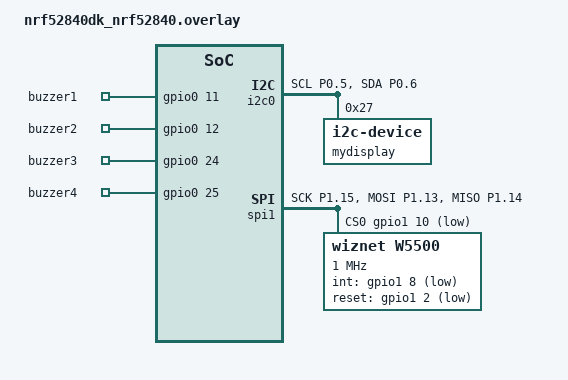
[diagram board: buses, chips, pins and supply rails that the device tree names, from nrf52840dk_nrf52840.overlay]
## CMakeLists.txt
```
# SPDX-License-Identifier: Apache-2.0

cmake_minimum_required(VERSION 3.20.0)
find_package(Zephyr REQUIRED HINTS $ENV{ZEPHYR_BASE})
project(NRF-Code)

target_sources(app PRIVATE
  src/main.c
  # src/common/common.c
  src/Lcd_Display/DisplayManager.c
  src/Buzzer/Buzzer_Manager.c
  src/BluetoothManager/BluetoothManager.c
  src/Network_Manager/Network_Manager.c
  src/Network_Manager/Network_Manager.c
  src/MbedTlsManager/MbedTlsManager.c
  src/NonBlockdelay/NonBlockdelay.c
  src/waterlevel/waterlevel.c
  src/JsonParser/JsonParser.c
  src/Pressuresensor/Pressuresensor.c


)
target_include_directories(app PRIVATE
  ${CMAKE_CURRENT_SOURCE_DIR}/src/Lcd_Display
  ${CMAKE_CURRENT_SOURCE_DIR}/src/Buzzer
  ${CMAKE_CURRENT_SOURCE_DIR}/src/common
  ${CMAKE_CURRENT_SOURCE_DIR}/src/Network_Manager
  ${CMAKE_CURRENT_SOURCE_DIR}/src/BluetoothManager
  ${CMAKE_CURRENT_SOURCE_DIR}/src/MbedTlsManager
  ${CMAKE_CURRENT_SOURCE_DIR}/src/NonBlockdelay
  ${CMAKE_CURRENT_SOURCE_DIR}/src/waterlevel
  ${CMAKE_CURRENT_SOURCE_DIR}/src/JsonParser
  ${CMAKE_CURRENT_SOURCE_DIR}/src/Pressuresensor

  # ${CMAKE_CURRENT_SOURCE_DIR}/src/BluetoothManager

)
# Adding Extra Library
zephyr_library_include_directories(${ZEPHYR_BASE}/samples/bluetooth)
# zephyr_include_directories(drivers/ethernet)
# zephyr_library_include_directories(${ZEPHYR_BASE}/drivers/ethernet)
```

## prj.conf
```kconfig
CONFIG_BT=y
CONFIG_BT_CENTRAL=y
CONFIG_I2C=y
CONFIG_LOG=y
CONFIG_BT_DEVICE_NAME="Central_Detector"


# Core 
# --- Core Networking ---
CONFIG_NETWORKING=y
CONFIG_NET_IPV4=y
CONFIG_NET_TCP=y
CONFIG_NET_L2_ETHERNET=y
CONFIG_NET_LOG=y

# --- Socket / POSIX API ---
CONFIG_NET_SOCKETS=y
CONFIG_POSIX_API=y             # Enables POSIX names like socket(), connect(), send()
CONFIG_NET_NATIVE=y            # Use Zephyr’s built-in TCP/IP stack

# --- W5500 Ethernet driver ---
CONFIG_SPI=y
CONFIG_ETH_W5500=y
CONFIG_NET_CONFIG_SETTINGS=y
CONFIG_NET_CONFIG_AUTO_INIT=y  # <-- ensures Zephyr brings the interface up automatically
CONFIG_I2C=y
# --- Static IPv4 configuration ---
CONFIG_NET_CONFIG_MY_IPV4_ADDR="192.168.1.170"
CONFIG_NET_CONFIG_MY_IPV4_NETMASK="255.255.255.0"
CONFIG_NET_CONFIG_PEER_IPV4_ADDR="192.168.1.200"
CONFIG_NET_CONFIG_INIT_TIMEOUT=0

# --- EMBED TLS ---
# --- Core MbedTLS support ---
CONFIG_NRF_SECURITY=y
CONFIG_MBEDTLS=y
CONFIG_MBEDTLS_ENABLE_HEAP=y
# CONFIG_MBEDTLS_MD5_C=y
CONFIG_MBEDTLS_AES_C=y
CONFIG_MBEDTLS_LEGACY_CRYPTO_C=y
CONFIG_NORDIC_SECURITY_BACKEND=y
# CONFIG_MBEDTLS_MD5_C=y
# --- Message-Digest (MD5) subsystem ---
# CONFIG_MBEDTLS_MD_C=y
# CONFIG_MBEDTLS_MESSAGE_DIGEST_C=y
# JSON Parser
CONFIG_JSON_LIBRARY=y

# --- Optional logging ---
# --- Do NOT enable legacy cipher layer ---
# CONFIG_MBEDTLS_LEGACY_CRYPTO_C is not set
```

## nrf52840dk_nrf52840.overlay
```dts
// To get started, press Ctrl+Space to bring up the completion menu and view the available nodes.
&gpiote {
    status = "okay";
};
&i2c0 {
    status = "okay";
    pinctrl-0 = <&i2c0_default>;
    pinctrl-1 = <&i2c0_sleep>;
    pinctrl-names = "default", "sleep";
    mydisplay: mydisplay@27 {
        compatible = "i2c-device";
        status = "okay";
        reg = <0x27>;
    };
};

&pinctrl {
    /omit-if-no-ref/ i2c0_default: i2c0_default {
        group1  {
            psels = <NRF_PSEL(TWIM_SCL, 0, 5)>,
                    <NRF_PSEL(TWIM_SDA, 0, 6)>;
        };
    };

    /omit-if-no-ref/ i2c0_sleep: i2c0_sleep {
        group1  {
            psels = <NRF_PSEL(TWIM_SCL, 1, 14)>,
                    <NRF_PSEL(TWIM_SDA, 1, 15)>;
            low-power-enable;
        };
    };
};

/{
    buzzers {
        compatible = "gpio-keys";  /* or just a logical container node */

        buzzer1: buzzer1 {
            gpios = <&gpio0 11 GPIO_ACTIVE_HIGH>;
        };
        buzzer2: buzzer2 {
            gpios = <&gpio0 12 GPIO_ACTIVE_HIGH>;
        };
        buzzer3: buzzer3 {
            gpios = <&gpio0 24 GPIO_ACTIVE_HIGH>;
        };
        buzzer4: buzzer4 {
            gpios = <&gpio0 25 GPIO_ACTIVE_HIGH>;
        };
    };
};
&pinctrl {
    spi1_default: spi1_default {
        group1 {
            psels = <NRF_PSEL(SPIM_SCK, 1, 15)>,
                    <NRF_PSEL(SPIM_MOSI, 1, 13)>,
                    <NRF_PSEL(SPIM_MISO, 1, 14)>;
        };
    };

    spi1_sleep: spi1_sleep {
        group1 {
            psels = <NRF_PSEL(SPIM_SCK, 1, 15)>,
                    <NRF_PSEL(SPIM_MOSI, 1, 13)>,
                    <NRF_PSEL(SPIM_MISO, 1, 14)>;
            low-power-enable;
        };
    };
};

&spi1 {
    compatible = "nordic,nrf-spi";
    status = "okay";
    cs-gpios = <&gpio1 10 GPIO_ACTIVE_LOW>;
    pinctrl-0 = <&spi1_default>;
    pinctrl-1 = <&spi1_sleep>;
    pinctrl-names = "default", "sleep";
    w5500: w5500@0 {
        compatible = "wiznet,w5500";
        reg = <0>;
        spi-max-frequency = <1000000>;
        int-gpios = <&gpio1 8 GPIO_ACTIVE_LOW>;
        reset-gpios = <&gpio1 2 GPIO_ACTIVE_LOW>;
        local-mac-address = [ 00 08 DC 01 02 03  ];
    };
};
```

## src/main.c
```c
#include "BluetoothManager.h"
#include "Buzzer_Manager.h"
#include "DisplayManager.h"
#include "MbedTlsManager.h"
#include "Network_Manager.h"
#include "common.h"
#include <errno.h>
#include <stddef.h>
#include <zephyr/kernel.h>
#include <zephyr/types.h>

LOG_MODULE_REGISTER(Main_Debug, LOG_LEVEL_DBG);
int main(void) {
  LOG_INF("Booting");
  // LCD_init();

  generateSharedKey("shared key1");
  k_msleep(3000); // Wait for LCD to power up
  // LCD_SendString("Connection lost with server,restart");

  bluetooth_Init();
  network_init();

  return 0;
}
```
